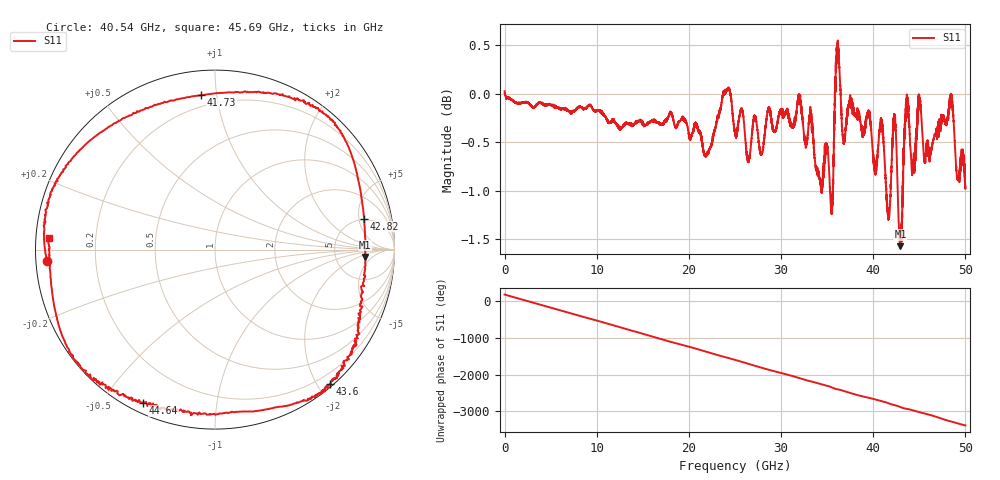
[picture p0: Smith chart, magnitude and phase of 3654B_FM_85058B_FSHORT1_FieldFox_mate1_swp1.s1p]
!Created with skrf (http://scikit-rf.org).
# Hz S RI R 50.0
!freq ReS11 ImS11
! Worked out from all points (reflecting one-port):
!   10000 points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, 5.3 MHz to 50 GHz, reference 50 ohm
!   lowest |S11| = -1.6 dB at 42.96 GHz (marker M1), VSWR 11.10, Z = 517 - j140 ohm
!   phase of S11 starts at 180 deg and turns -3561 deg over the sweep
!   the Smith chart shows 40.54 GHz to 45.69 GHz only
!   S11 on the Smith chart (normalised r, x): 40.54 GHz: 0.03, -0.03; 41.73 GHz: 0.13, +0.91; 42.82 GHz: 4.79, +5.90; 43.6 GHz: 0.04, -2.17; 44.64 GHz: 0.04, -0.63; 45.69 GHz: 0.04, +0.03
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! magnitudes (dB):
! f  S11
! 5.3 MHz  0.0
! 6.255 GHz  -0.2
! 12.51 GHz  -0.4
! 18.76 GHz  -0.3
! 21.92 GHz  -0.6
! 24.22 GHz  0.0
! 25.01 GHz  -0.4
! 31.26 GHz  -0.3
! 32 GHz  -0.1
! 35.43 GHz  -1.2
! 36.11 GHz  0.4
! 36.79 GHz  -0.5
! 37.51 GHz  0.0
! 40.54 GHz  -0.6
! 40.96 GHz  -0.3
! 41.73 GHz  -1.3
! 42.3 GHz  -0.3
! 42.82 GHz  -1.4
! 42.96 GHz  -1.6
! 43.6 GHz  -0.1
! 43.76 GHz  -0.1
! 44.26 GHz  -0.8
! 44.64 GHz  -0.5
! 45.04 GHz  -0.1
! 45.69 GHz  -0.6
! 48.43 GHz  0.0
! 49.14 GHz  -0.9
! 50 GHz  -1.0
